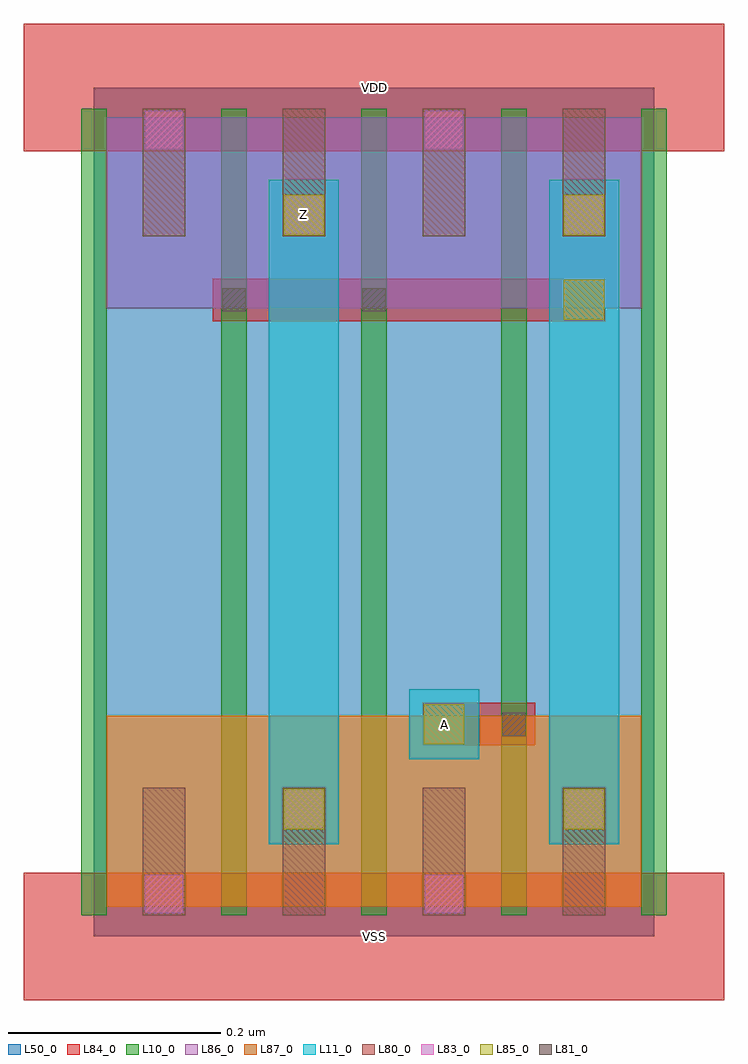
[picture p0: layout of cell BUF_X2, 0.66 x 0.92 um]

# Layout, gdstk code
import gdstk
lib = gdstk.Library(unit=1e-6, precision=1e-09)
def R(c, l, rs):  # rectangles x0, y0, x1, y1
    for r in rs: c.add(gdstk.rectangle(r[:2], r[2:], *l))
def A(c, l, x, y, w, h, nx, ny, dx, dy):  # array of equal rectangles
    R(c, l, [(x+i*dx, y+j*dy, x+i*dx+w, y+j*dy+h) for i in range(nx) for j in range(ny)])
L10_0 = (10, 0)
L11_0 = (11, 0)
L50_0 = (50, 0)
L80_0 = (80, 0)
L81_0 = (81, 0)
L83_0 = (83, 0)
L84_0 = (84, 0)
L85_0 = (85, 0)
L86_0 = (86, 0)
L87_0 = (87, 0)

buf_x2 = lib.new_cell('BUF_X2')
A(buf_x2, L10_0, -0.012, 0.02, 0.024, 0.76, 5, 1, 0.132, 0)
R(buf_x2, L11_0, [(0.165,0.087,0.231,0.713), (0.429,0.087,0.495,0.713), (0.297,0.167,0.363,0.233)])
R(buf_x2, L50_0, [(0,0,0.528,0.8)])
A(buf_x2, L80_0, 0.046, 0.02, 0.04, 0.12, 4, 2, 0.132, 0.64)
R(buf_x2, L81_0, [(0.385,0.189,0.407,0.211), (0.121,0.589,0.143,0.611), (0.253,0.589,0.275,0.611)])
R(buf_x2, L83_0, [(0.048,0.022,0.084,0.058), (0.312,0.022,0.348,0.058), (0.18,0.102,0.216,0.138), (0.444,0.102,0.48,0.138), (0.18,0.662,0.216,0.698), (0.444,0.662,0.48,0.698), (0.048,0.742,0.084,0.778), (0.312,0.742,0.348,0.778)])
R(buf_x2, L84_0, [(-0.066,-0.06,0.594,0.06), (0.178,0.1,0.218,0.14), (0.442,0.1,0.482,0.14), (0.31,0.18,0.416,0.22), (0.112,0.58,0.482,0.62), (0.178,0.66,0.218,0.7), (0.442,0.66,0.482,0.7), (-0.066,0.74,0.594,0.86)])
R(buf_x2, L85_0, [(0.179,0.101,0.217,0.139), (0.443,0.101,0.481,0.139), (0.311,0.181,0.349,0.219), (0.443,0.581,0.481,0.619), (0.179,0.661,0.217,0.699), (0.443,0.661,0.481,0.699)])
R(buf_x2, L86_0, [(0.012,0.592,0.516,0.772)])
R(buf_x2, L87_0, [(0.012,0.028,0.516,0.208)])
buf_x2.add(gdstk.Label('VDD', (0.264,0.8), layer=88, texttype=0))
buf_x2.add(gdstk.Label('VSS', (0.264,0), layer=88, texttype=0))
buf_x2.add(gdstk.Label('Z', (0.198,0.68), layer=31, texttype=0))
buf_x2.add(gdstk.Label('A', (0.33,0.2), layer=31, texttype=0))

lib.write_gds('BUF_X2.gds')
